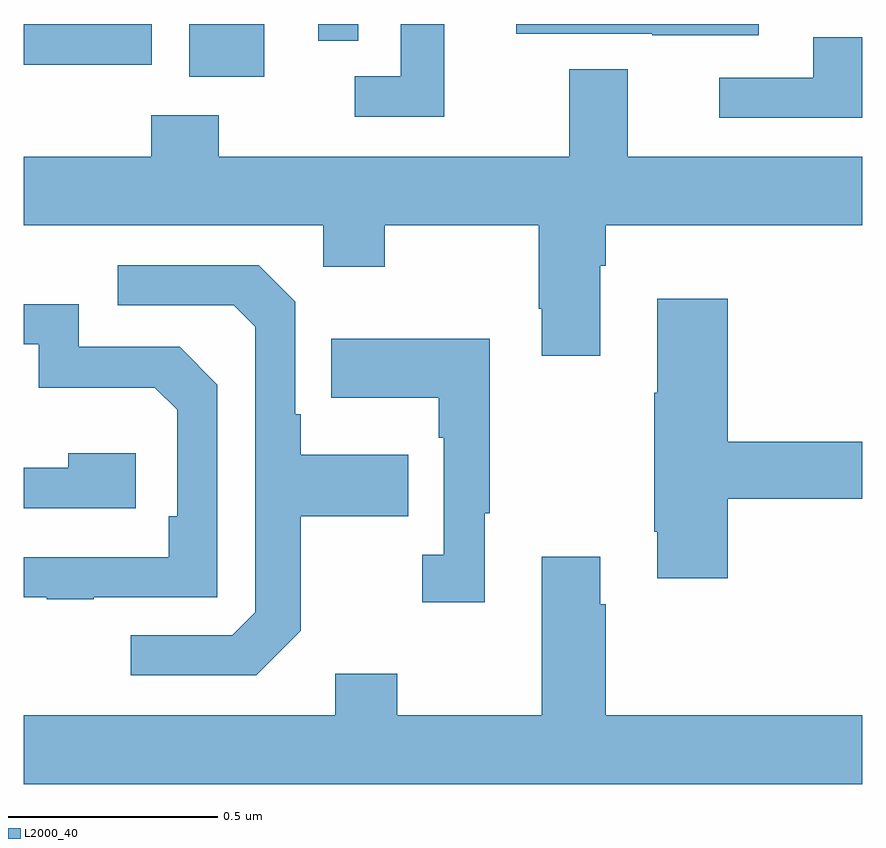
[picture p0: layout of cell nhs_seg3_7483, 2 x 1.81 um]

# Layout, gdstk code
import gdstk
lib = gdstk.Library(unit=1e-6, precision=1e-09)
def R(c, l, rs):  # rectangles x0, y0, x1, y1
    for r in rs: c.add(gdstk.rectangle(r[:2], r[2:], *l))
def P(c, l, *ps):  # polygons
    for p in ps: c.add(gdstk.Polygon(p, *l))
L2000_40 = (2000, 40)

nhs_seg3_7483 = lib.new_cell('nhs_seg3_7483')
R(nhs_seg3_7483, L2000_40, [(204.395,697.274,204.574,697.4), (204,697.303,204.306,697.4), (204.702,697.36,204.798,697.4)])
P(nhs_seg3_7483, L2000_40, [(205.003,697.4),(204.899,697.4),(204.899,697.275),(204.789,697.275),(204.789,697.179),(205.003,697.179)],
  [(205.753,697.4),(205.175,697.4),(205.175,697.377),(205.499,697.377),(205.499,697.373),(205.753,697.373)],
  [(206,697.368),(205.883,697.368),(205.883,697.272),(205.659,697.272),(205.659,697.176),(206,697.176)],
  [(205.375,696.824),(205.388,696.824),(205.388,696.92),(206,696.92),(206,697.084),(205.441,697.084),(205.441,697.292),(205.301,697.292),(205.301,697.084),(204.465,697.084),(204.465,697.183),(204.305,697.183),(204.305,697.084),(204,697.084),(204,696.92),(204.714,696.92),(204.714,696.821),(204.861,696.821),(204.861,696.92),(205.228,696.92),(205.228,696.721),(205.235,696.721),(205.235,696.609),(205.375,696.609)],
  [(204.661,695.953),(204.661,696.226),(204.917,696.226),(204.917,696.373),(204.661,696.373),(204.661,696.469),(204.648,696.469),(204.648,696.738),(204.561,696.825),(204.225,696.825),(204.225,696.729),(204.501,696.729),(204.552,696.678),(204.552,695.997),(204.498,695.943),(204.255,695.943),(204.255,695.847),(204.555,695.847)],
  [(205.679,696.268),(206,696.268),(206,696.404),(205.679,696.404),(205.679,696.745),(205.511,696.745),(205.511,696.521),(205.504,696.521),(205.504,696.19),(205.511,696.19),(205.511,696.078),(205.679,696.078)],
  [(204.167,696.033),(204.462,696.033),(204.462,696.54),(204.372,696.63),(204.132,696.63),(204.132,696.732),(204,696.732),(204,696.636),(204.036,696.636),(204.036,696.533),(204.313,696.533),(204.366,696.48),(204.366,696.226),(204.346,696.226),(204.346,696.129),(204,696.129),(204,696.033),(204.055,696.033),(204.055,696.028),(204.167,696.028)],
  [(205.099,696.233),(205.111,696.233),(205.111,696.649),(204.733,696.649),(204.733,696.509),(204.99,696.509),(204.99,696.413),(205.002,696.413),(205.002,696.134),(204.951,696.134),(204.951,696.021),(205.099,696.021)],
  [(204.268,696.376),(204.107,696.376),(204.107,696.342),(204,696.342),(204,696.246),(204.268,696.246)],
  [(206,695.752),(205.388,695.752),(205.388,696.017),(205.375,696.017),(205.375,696.13),(205.235,696.13),(205.235,695.752),(204.891,695.752),(204.891,695.851),(204.743,695.851),(204.743,695.752),(204,695.752),(204,695.588),(206,695.588)])

lib.write_gds('nhs_seg3_7483.gds')
